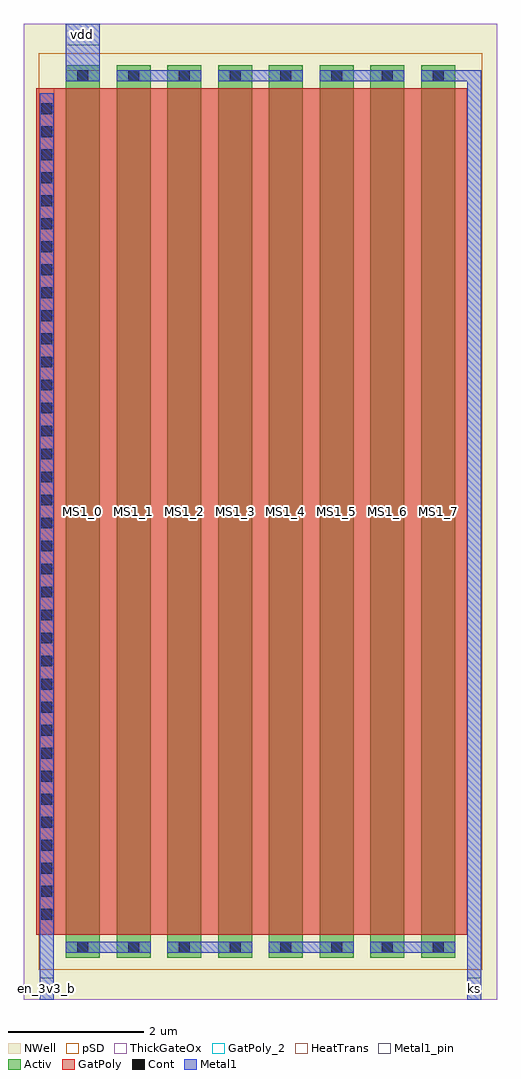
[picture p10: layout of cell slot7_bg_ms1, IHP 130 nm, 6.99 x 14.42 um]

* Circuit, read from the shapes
.subckt slot7_bg_ms1 en_3v3_b ks vdd
XM1 vdd en_3v3_b n1 n2 sg13_hv_pmos w=0.5u l=12.5u
XM2 n3 en_3v3_b n1 n2 sg13_hv_pmos w=0.5u l=12.5u
XM3 n3 en_3v3_b n4 n2 sg13_hv_pmos w=0.5u l=12.5u
XM4 n5 en_3v3_b n4 n2 sg13_hv_pmos w=0.5u l=12.5u
XM5 n5 en_3v3_b n6 n2 sg13_hv_pmos w=0.5u l=12.5u
XM6 n7 en_3v3_b n6 n2 sg13_hv_pmos w=0.5u l=12.5u
XM7 n7 en_3v3_b n8 n2 sg13_hv_pmos w=0.5u l=12.5u
XM8 ks en_3v3_b n8 n2 sg13_hv_pmos w=0.5u l=12.5u
.ends

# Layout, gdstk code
from math import pi, radians
import gdstk
lib = gdstk.Library(unit=1e-6, precision=1e-09)
def R(c, l, rs):  # rectangles x0, y0, x1, y1
    for r in rs: c.add(gdstk.rectangle(r[:2], r[2:], *l))
def A(c, l, x, y, w, h, nx, ny, dx, dy):  # array of equal rectangles
    R(c, l, [(x+i*dx, y+j*dy, x+i*dx+w, y+j*dy+h) for i in range(nx) for j in range(ny)])
Activ = (1, 0)
GatPoly = (5, 0)
GatPoly_2 = (5, 2)
Cont = (6, 0)
Metal1 = (8, 0)
Metal1_pin = (8, 2)
pSD = (14, 0)
NWell = (31, 0)
ThickGateOx = (44, 0)
HeatTrans = (51, 0)

slot7_pmoshv_13_1 = lib.new_cell('slot7_pmosHV_13_1')
R(slot7_pmoshv_13_1, Activ, [(0,0,0.3,0.3), (0,0,13.18,0.5), (12.88,0,13.18,0.3)])
R(slot7_pmoshv_13_1, GatPoly, [(0.34,-0.18,12.84,0.68)])
R(slot7_pmoshv_13_1, GatPoly_2, [(0.34,-0.18,12.84,0.68)])
R(slot7_pmoshv_13_1, Cont, [(0.07,0.17,0.23,0.33), (12.95,0.17,13.11,0.33)])
R(slot7_pmoshv_13_1, Metal1, [(0.07,0,0.23,0.5), (12.95,0,13.11,0.5)])
R(slot7_pmoshv_13_1, Metal1_pin, [(0.07,0,0.23,0.5), (12.95,0,13.11,0.5)])
R(slot7_pmoshv_13_1, pSD, [(-0.18,-0.4,13.36,0.9)])
R(slot7_pmoshv_13_1, NWell, [(-0.62,-0.62,13.8,1.12)])
R(slot7_pmoshv_13_1, ThickGateOx, [(-0.62,-0.62,13.8,1.12)])
R(slot7_pmoshv_13_1, HeatTrans, [(0.34,-0.18,12.84,0.68)])
slot7_pmoshv_13_1.add(gdstk.Label('pmosHV', (6.59,0.25), layer=63, texttype=0))
slot7_pmoshv_13_1.add(gdstk.Label('pmos', (6.59,0.25), layer=51, texttype=0))

slot7_bg_ms1 = lib.new_cell('slot7_bg_ms1')
R(slot7_bg_ms1, GatPoly, [(-0.435,0.34,0,12.84)])
A(slot7_bg_ms1, Cont, -0.365, 0.56, 0.16, 0.16, 1, 36, 0, 0.34)
A(slot7_bg_ms1, Metal1, 0, 0.07, 1.25, 0.16, 4, 1, 1.5, 0)
A(slot7_bg_ms1, Metal1, 0.75, 12.95, 1.25, 0.16, 3, 1, 1.5, 0)
R(slot7_bg_ms1, Metal1, [(-0.39,-0.62,-0.18,12.77), (5.93,-0.62,6.14,13.11), (0,12.95,0.5,13.8), (5.25,12.95,6.14,13.11)])
R(slot7_bg_ms1, Metal1_pin, [(-0.39,-0.62,-0.18,-0.3), (5.93,-0.62,6.14,-0.3), (0,13.48,0.5,13.8)])
R(slot7_bg_ms1, NWell, [(-0.62,-0.62,6.37,13.8)])
R(slot7_bg_ms1, ThickGateOx, [(-0.62,-0.62,6.37,13.8)])
r = gdstk.Reference(slot7_pmoshv_13_1, (0,13.18), rotation=3*pi/2); r.repetition = gdstk.Repetition(1, 8, v1=(0,0), v2=(0.75,0)); slot7_bg_ms1.add(r)
slot7_bg_ms1.add(gdstk.Label('vdd', (0.25,13.64), layer=8, texttype=25))
slot7_bg_ms1.add(gdstk.Label('ks', (6.035,-0.46), layer=8, texttype=25))
slot7_bg_ms1.add(gdstk.Label('en_3v3_b', (-0.285,-0.46), layer=8, texttype=25))
slot7_bg_ms1.add(gdstk.Label('MS1_0', (0.25,6.59), layer=63, texttype=0))
slot7_bg_ms1.add(gdstk.Label('MS1_1', (1,6.59), layer=63, texttype=0))
slot7_bg_ms1.add(gdstk.Label('MS1_2', (1.75,6.59), layer=63, texttype=0))
slot7_bg_ms1.add(gdstk.Label('MS1_3', (2.5,6.59), layer=63, texttype=0))
slot7_bg_ms1.add(gdstk.Label('MS1_4', (3.25,6.59), layer=63, texttype=0))
slot7_bg_ms1.add(gdstk.Label('MS1_5', (4,6.59), layer=63, texttype=0))
slot7_bg_ms1.add(gdstk.Label('MS1_6', (4.75,6.59), layer=63, texttype=0))
slot7_bg_ms1.add(gdstk.Label('MS1_7', (5.5,6.59), layer=63, texttype=0))

lib.write_gds('slot7_bg_ms1.gds')
